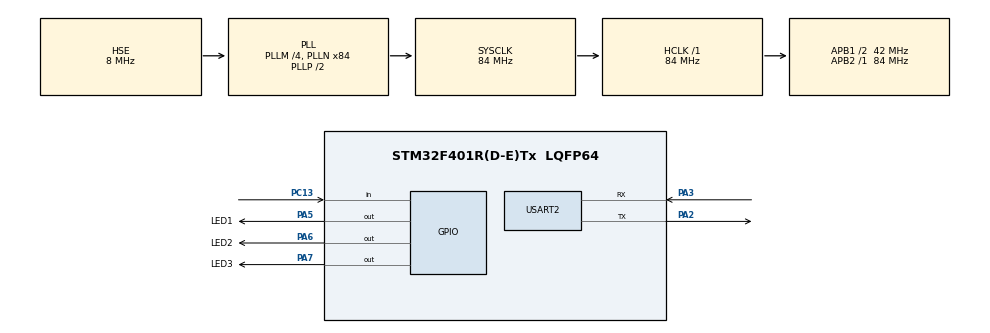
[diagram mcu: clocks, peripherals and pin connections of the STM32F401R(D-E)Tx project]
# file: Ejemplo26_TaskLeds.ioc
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Mcu.Family=STM32F4
Mcu.Name=STM32F401R(D-E)Tx
Mcu.Package=LQFP64
NVIC.PriorityGroup=NVIC_PRIORITYGROUP_4
NVIC.TIM1_TRG_COM_TIM11_IRQn=true\:15\:0\:false\:false\:true\:false\:true\:true
NVIC.TimeBase=TIM1_TRG_COM_TIM11_IRQn
NVIC.TimeBaseIP=TIM11
NVIC.USART2_IRQn=true\:0\:0\:false\:false\:true\:true\:true\:true
PA2.Mode=Asynchronous
PA2.Signal=USART2_TX
PA3.Mode=Asynchronous
PA3.Signal=USART2_RX
PA5.GPIO_Label=LED1
PA5.Signal=GPIO_Output
PA6.GPIO_Label=LED2
PA6.Signal=GPIO_Output
PA7.GPIO_Label=LED3
PA7.Signal=GPIO_Output
PC13-ANTI_TAMP.Signal=GPIO_Input
PH0\ -\ OSC_IN.Mode=HSE-External-Clock-Source
PH0\ -\ OSC_IN.Signal=RCC_OSC_IN
PH1\ -\ OSC_OUT.Mode=HSE-External-Clock-Source
PH1\ -\ OSC_OUT.Signal=RCC_OSC_OUT
ProjectManager.HeapSize=0x200
ProjectManager.StackSize=0x400
ProjectManager.TargetToolchain=STM32CubeIDE
RCC.48MHZClocksFreq_Value=42000000
RCC.AHBFreq_Value=84000000
RCC.APB1CLKDivider=RCC_HCLK_DIV2
RCC.APB1Freq_Value=42000000
RCC.APB1TimFreq_Value=84000000
RCC.APB2Freq_Value=84000000
RCC.APB2TimFreq_Value=84000000
RCC.CortexFreq_Value=84000000
RCC.HCLKFreq_Value=84000000
RCC.HSE_VALUE=8000000
RCC.HSI_VALUE=16000000
RCC.LSE_VALUE=32768
RCC.PLLM=4
RCC.PLLN=84
RCC.PLLSourceVirtual=RCC_PLLSOURCE_HSE
RCC.SYSCLKFreq_VALUE=84000000
RCC.SYSCLKSource=RCC_SYSCLKSOURCE_PLLCLK
RCC.VCOOutputFreq_Value=168000000
USART2.VirtualMode=VM_ASYNC
VP_SYS_VS_tim11.Mode=TIM11
board=custom

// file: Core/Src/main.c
/* USER CODE BEGIN Header */
/**
  ******************************************************************************
  * @file           : main.c
  * @brief          : Main program body
  ******************************************************************************
  * @attention
  *
  * Copyright (c) 2022 STMicroelectronics.
  * All rights reserved.
  *
  * This software is licensed under terms that can be found in the LICENSE file
  * in the root directory of this software component.
  * If no LICENSE file comes with this software, it is provided AS-IS.
  *
  ******************************************************************************
  */
/* USER CODE END Header */
#include "main.h"
#include "usart.h"
#include "gpio.h"

/* USER CODE BEGIN Includes */
#include "FreeRTOS.h"
#include "task.h"

#include <stdio.h>
#include <stdarg.h>
#include <string.h>
/* USER CODE END Includes */

/* USER CODE BEGIN PTD */
TaskHandle_t Led1;
TaskHandle_t Led2;
TaskHandle_t Led3;
/* USER CODE END PTD */
void vTaskLed1(void *params);
void vTaskLed2(void *params);
void vTaskLed3(void *params);

/* USER CODE BEGIN PM */
/**
 * 0 : no se desea usar segger system view
 * 1 : se usa para la depuracion
 */
#define SYSTEM_VIEW				1
/* USER CODE END PM */

void SystemClock_Config(void);
/* USER CODE BEGIN PFP */

void UART_Printf(char *format,...);
/* USER CODE END PFP */

int main(void)
{
  /* USER CODE BEGIN 1 */
	BaseType_t status;
  /* USER CODE END 1 */

  /* MCU Configuration--------------------------------------------------------*/

  /* Reset of all peripherals, Initializes the Flash interface and the Systick. */
  HAL_Init();

  /* Configure the system clock */
  SystemClock_Config();

  /* Initialize all configured peripherals */
  MX_GPIO_Init();
  MX_USART2_UART_Init();
  /* USER CODE BEGIN 2 */
#if SYSTEM_VIEW
  DWT->CTRL |= 1;
  SEGGER_SYSVIEW_Conf();
  /*solo se va usar cuando se trabaje en modo one shot*/
//  SEGGER_SYSVIEW_Start();

#endif

status = xTaskCreate(vTaskLed1,
						"led1",
						configMINIMAL_STACK_SIZE,
						NULL,
						0,
						&Led1);

configASSERT(status == pdPASS);

status = xTaskCreate(vTaskLed2,
						"led2",
						configMINIMAL_STACK_SIZE,
						NULL,
						0,
						&Led2);

configASSERT(status == pdPASS);

status = xTaskCreate(vTaskLed3,
						"led3",
						configMINIMAL_STACK_SIZE,
						NULL,
						0,
						&Led3);

configASSERT(status == pdPASS);
  /* inicializa el kernel*/
  vTaskStartScheduler();
  /* USER CODE END 2 */

  /* Infinite loop */
  while (1)
  {

  }
}

void SystemClock_Config(void)
{
  RCC_OscInitTypeDef RCC_OscInitStruct = {0};
  RCC_ClkInitTypeDef RCC_ClkInitStruct = {0};

  /** Configure the main internal regulator output voltage
  */
  __HAL_RCC_PWR_CLK_ENABLE();
  __HAL_PWR_VOLTAGESCALING_CONFIG(PWR_REGULATOR_VOLTAGE_SCALE2);

  /** Initializes the RCC Oscillators according to the specified parameters
  * in the RCC_OscInitTypeDef structure.
  */
  RCC_OscInitStruct.OscillatorType = RCC_OSCILLATORTYPE_HSE;
  RCC_OscInitStruct.HSEState = RCC_HSE_BYPASS;
  RCC_OscInitStruct.PLL.PLLState = RCC_PLL_ON;
  RCC_OscInitStruct.PLL.PLLSource = RCC_PLLSOURCE_HSE;
  RCC_OscInitStruct.PLL.PLLM = 4;
  RCC_OscInitStruct.PLL.PLLN = 84;
  RCC_OscInitStruct.PLL.PLLP = RCC_PLLP_DIV2;
  RCC_OscInitStruct.PLL.PLLQ = 4;
  if (HAL_RCC_OscConfig(&RCC_OscInitStruct) != HAL_OK)
  {
    Error_Handler();
  }

  /** Initializes the CPU, AHB and APB buses clocks
  */
  RCC_ClkInitStruct.ClockType = RCC_CLOCKTYPE_HCLK|RCC_CLOCKTYPE_SYSCLK
                              |RCC_CLOCKTYPE_PCLK1|RCC_CLOCKTYPE_PCLK2;
  RCC_ClkInitStruct.SYSCLKSource = RCC_SYSCLKSOURCE_PLLCLK;
  RCC_ClkInitStruct.AHBCLKDivider = RCC_SYSCLK_DIV1;
  RCC_ClkInitStruct.APB1CLKDivider = RCC_HCLK_DIV2;
  RCC_ClkInitStruct.APB2CLKDivider = RCC_HCLK_DIV1;

  if (HAL_RCC_ClockConfig(&RCC_ClkInitStruct, FLASH_LATENCY_2) != HAL_OK)
  {
    Error_Handler();
  }
}

/* USER CODE BEGIN 4 */

void vTaskLed1(void *params){

	for(;;){

		//HAL_GPIO_TogglePin(LED1_GPIO_Port, LED1_Pin);
		GPIOA->ODR ^=  (1<<5);
		UART_Printf("Ejecucion Led1");
		SEGGER_SYSVIEW_PrintfHost("Ejecucion Led1");
		vTaskDelay(pdMS_TO_TICKS(400));
HAL_Delay(200);
	}

	vTaskDelete(NULL);
}

void vTaskLed2(void *params){

	for(;;){

		for (uint8_t i = 0; i < 10; ++i) {
			HAL_GPIO_TogglePin(LED2_GPIO_Port, LED2_Pin);
			UART_Printf("Ejecucion Led2");
			SEGGER_SYSVIEW_PrintfHost("Ejecucion Led2");
			vTaskDelay(pdMS_TO_TICKS(50));
		}

	}

	vTaskDelete(NULL);

}
void vTaskLed3(void *params){

	uint32_t time_tick;
	time_tick = xTaskGetTickCount();

	for(;;){

		HAL_GPIO_TogglePin(LED3_GPIO_Port, LED3_Pin);
					UART_Printf("Ejecucion Led2");
					SEGGER_SYSVIEW_PrintfHost("Ejecucion Led2");

		xTaskDelayUntil(&time_tick, 500);
	}

	vTaskDelete(NULL);
}

BaseType_t cuenta;
void vApplicationIdleHook(void){
cuenta++;
UART_Printf("Cuenta del HOOK->%d\n\r",cuenta);
//__WFI();
//__WFE();
return;
}

void vApplicationTickHook(void){

return;
}
void UART_Printf(char *format,...){
    char str[80];

    /*Extract the the argument list using VA apis */
    va_list args;
    va_start(args, format);
    vsprintf(str, format,args);
    HAL_UART_Transmit(&huart2, (uint8_t*)str, strlen(str), 10);
    va_end(args);
}
/* USER CODE END 4 */

void HAL_TIM_PeriodElapsedCallback(TIM_HandleTypeDef *htim)
{
  if (htim->Instance == TIM11) {
    HAL_IncTick();
  }
}

void Error_Handler(void)
{
  __disable_irq();
  while (1)
  {
  }
}
